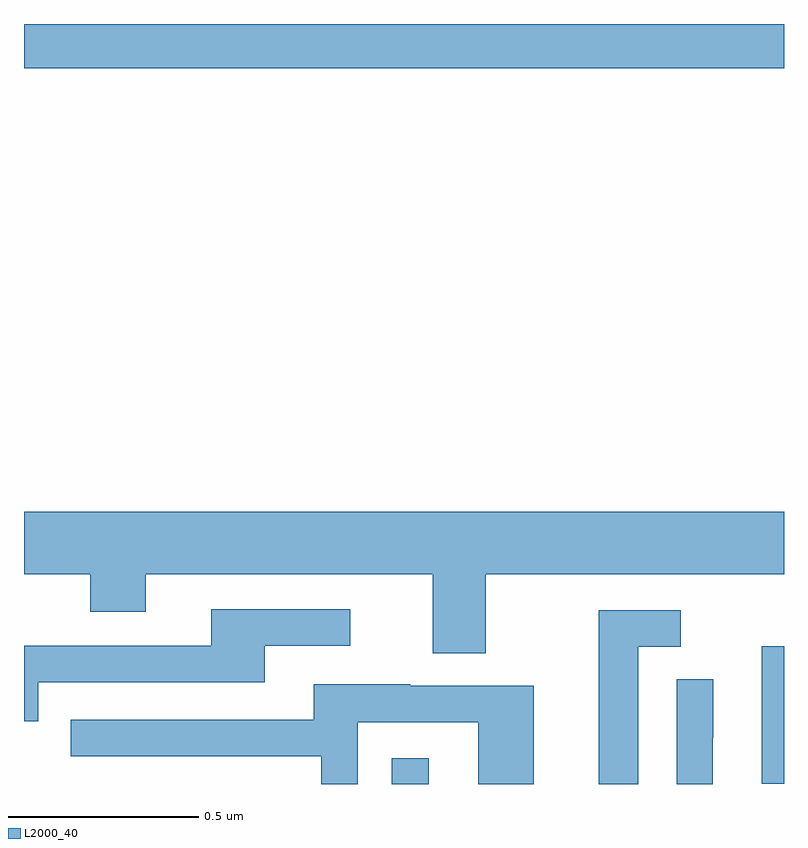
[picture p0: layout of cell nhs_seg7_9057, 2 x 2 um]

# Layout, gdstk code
import gdstk
lib = gdstk.Library(unit=1e-6, precision=1e-09)
def R(c, l, rs):  # rectangles x0, y0, x1, y1
    for r in rs: c.add(gdstk.rectangle(r[:2], r[2:], *l))
def P(c, l, *ps):  # polygons
    for p in ps: c.add(gdstk.Polygon(p, *l))
L2000_40 = (2000, 40)

nhs_seg7_9057 = lib.new_cell('nhs_seg7_9057')
R(nhs_seg7_9057, L2000_40, [(232.968,1064,233.065,1064.068), (233.942,1064.001,234,1064.362), (232,1065.884,234,1066)])
P(nhs_seg7_9057, L2000_40, [(233.215,1064.552),(234,1064.552),(234,1064.716),(232,1064.716),(232,1064.552),(232.174,1064.552),(232.174,1064.453),(232.321,1064.453),(232.321,1064.552),(233.075,1064.552),(233.075,1064.344),(233.215,1064.344)],
  [(232.038,1064.268),(232.633,1064.268),(232.633,1064.364),(232.858,1064.364),(232.858,1064.46),(232.493,1064.46),(232.493,1064.364),(232,1064.364),(232,1064.165),(232.038,1064.165)],
  [(233.617,1064.361),(233.728,1064.361),(233.728,1064.457),(233.513,1064.457),(233.513,1064),(233.617,1064)],
  [(233.813,1064.122),(233.814,1064.122),(233.814,1064.276),(233.718,1064.276),(233.718,1064),(233.813,1064)],
  [(232.878,1064.163),(233.196,1064.163),(233.196,1064),(233.341,1064),(233.341,1064.259),(233.017,1064.259),(233.017,1064.263),(232.763,1064.263),(232.763,1064.169),(232.123,1064.169),(232.123,1064.073),(232.782,1064.073),(232.782,1064),(232.878,1064)])

lib.write_gds('nhs_seg7_9057.gds')
